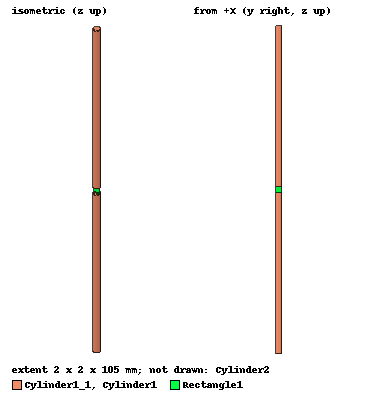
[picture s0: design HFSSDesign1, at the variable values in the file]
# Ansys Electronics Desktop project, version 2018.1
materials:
  vacuum: permittivity=1
  air: permittivity=1.0006 permeability=1.0000004
  copper: permeability=0.999991 conductivity=58000000

design HFSSDesign1 (HFSS, DrivenModal, model units mm)
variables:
  l = 1mm
  I = 23.5mm
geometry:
  Cylinder1 [copper] = cylinder(axis=X, base_centre=(-1mm, 0mm, 0mm), radius=1mm, height=-75mm + I)
  Cylinder1_1 [copper] = Cylinder1.duplicate_around_axis(axis=Z, angle=180deg, total=2)
  Rectangle1 = rectangle(corner=(-1mm, -1mm, 0mm), x_size=2mm, y_size=2mm)
  Cylinder2 [air] = cylinder(axis=X, base_centre=(-151mm, 0mm, 0mm), radius=75mm, height=302mm)
  [Cylinder2, Cylinder1, Cylinder1_1, Rectangle1].rotate(axis=Y, angle=90deg)
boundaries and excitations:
  Rad1: Radiation Objects=Cylinder2
  1: Lumped Port Objects=Rectangle1 Modes{Mode1{IntLine{middle of Rectangle1.edge(2 of 4) -> middle of Rectangle1.edge(4 of 4)} CharImp=Zpi RenormImp=50ohm}} Impedance=50ohm
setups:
  Setup1: HfssDriven Frequency=0.25GHz MaxDeltaS=0.02 MaximumPasses=20 MinimumPasses=1 MinimumConvergedPasses=1 PercentRefinement=30 BasisOrder=1 PortAccuracy=2
    sweep Sweep: 0.2GHz to 2GHz, 451 points; Type=Interpolating InterpTolerance=0.5 InterpMaxSolns=250 InterpUsePortImped=false PassivityErrorTolerance=0.0001
  Setup2: HfssDriven Frequency=1GHz MaxDeltaS=0.02 MaximumPasses=20 MinimumPasses=1 MinimumConvergedPasses=1 PercentRefinement=30 BasisOrder=1 PortAccuracy=2
    sweep Sweep2: 0.2GHz to 2GHz, 451 points; Type=Interpolating InterpTolerance=0.5 InterpMaxSolns=250 InterpUsePortImped=false PassivityErrorTolerance=0.0001
  Setup3: HfssDriven Frequency=2GHz MaxDeltaS=0.02 MaximumPasses=20 MinimumPasses=1 MinimumConvergedPasses=1 PercentRefinement=30 BasisOrder=1 PortAccuracy=2
  Setup4: HfssDriven Frequency=3GHz MaxDeltaS=0.02 MaximumPasses=20 MinimumPasses=1 MinimumConvergedPasses=1 PercentRefinement=30 BasisOrder=1 PortAccuracy=2
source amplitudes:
  1:1: 1W 0deg
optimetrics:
  ParametricSetup1: Parametric disabled Sim._Setups=[Setup1]
    sweep l: LIN 1mm 25mm 1mm LIN 22mm 24mm 0.5mm
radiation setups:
  Infinite Sphere1: Infinite Sphere Theta=0deg..360deg step 2deg Phi=0deg..360deg step 2deg
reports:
  2d pattern 0.25GHz: normalize(GainTotal) vs Theta on Setup1 : LastAdaptive, Infinite Sphere1 [Phi=0deg Freq=0.25GHz]
  Patron de Radiación 3D 0.25GHz: GainTotal vs Phi, Theta on Setup1 : LastAdaptive, Infinite Sphere1 [Freq=0.25GHz]
  2d pattern 1GHz: normalize(GainTotal) vs Theta on Setup2 : LastAdaptive, Infinite Sphere1 [Phi=0deg Freq=1GHz]
  Patron de Radiación 3D 1GHz: GainTotal vs Phi, Theta on Setup2 : LastAdaptive, Infinite Sphere1 [Freq=1GHz]
  2d pattern 2GHz: normalize(GainTotal) vs Theta on Setup3 : LastAdaptive, Infinite Sphere1 [Phi=0deg Freq=2GHz]
  Patron de Radiación 3D 2GHz: GainTotal vs Phi, Theta on Setup3 : LastAdaptive, Infinite Sphere1 [Freq=2GHz]
  2d pattern 3GHz: normalize(GainTotal) vs Theta on Setup4 : LastAdaptive, Infinite Sphere1 [Phi=0deg Freq=3GHz]
  Patron de Radiación 3D 3GHz: GainTotal vs Phi, Theta on Setup4 : LastAdaptive, Infinite Sphere1 [Freq=3GHz]
  Z Parameter Plot 1: re(Z(1,1)), im(Z(1,1)) vs Freq on Setup1 : Sweep; markers m1 at 1.324GHz, m2 at 1.316GHz, m3 at 1.292GHz, m4 at 1.304GHz, m5 at 1.304GHz
